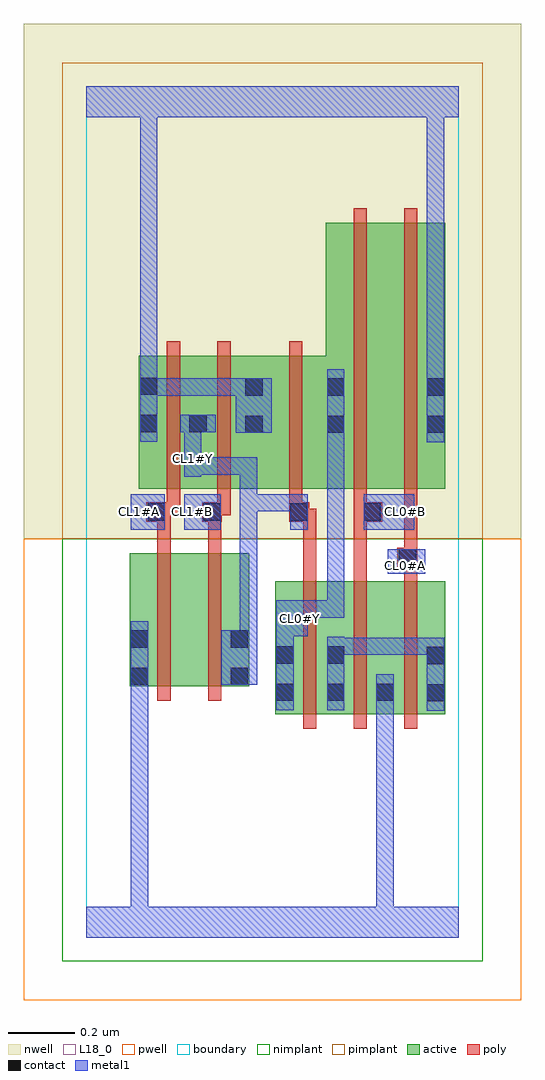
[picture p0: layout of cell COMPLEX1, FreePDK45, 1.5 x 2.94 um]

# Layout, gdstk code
import gdstk
lib = gdstk.Library(unit=1e-6, precision=1e-09)
def R(c, l, rs):  # rectangles x0, y0, x1, y1
    for r in rs: c.add(gdstk.rectangle(r[:2], r[2:], *l))
def A(c, l, x, y, w, h, nx, ny, dx, dy):  # array of equal rectangles
    R(c, l, [(x+i*dx, y+j*dy, x+i*dx+w, y+j*dy+h) for i in range(nx) for j in range(ny)])
active = (1, 0)
pwell = (2, 0)
nwell = (3, 0)
nimplant = (4, 0)
pimplant = (5, 0)
poly = (9, 0)
contact = (10, 0)
metal1 = (11, 0)
L18_0 = (18, 0)
boundary = (235, 0)

complex1 = lib.new_cell('COMPLEX1')
R(complex1, active, [(0.568,0.672,0.628,1.072), (0.568,0.672,0.78,1.072), (0.72,0.672,0.78,1.072), (0.72,0.672,0.928,1.072), (0.868,0.672,1.08,1.072), (0.868,0.672,0.928,0.768), (1.02,0.672,1.08,1.072), (0.13,0.756,0.19,1.156), (0.13,0.756,0.31,1.156), (0.31,0.756,0.49,1.156), (0.43,0.756,0.49,1.156), (0.158,1.35,0.218,1.75), (0.158,1.35,0.366,1.75), (0.306,1.35,0.534,1.75), (0.306,1.35,0.366,1.644), (0.474,1.35,0.534,1.75), (0.474,1.35,0.78,1.75), (0.72,1.35,0.9,2.15), (0.72,1.35,0.78,1.686), (0.9,1.35,1.08,2.15), (1.02,1.35,1.08,2.15)])
R(complex1, pwell, [(-0.188,-0.188,1.308,1.2)])
R(complex1, nwell, [(-0.188,1.2,1.308,2.748)])
R(complex1, nimplant, [(-0.072,-0.072,1.192,1.2)])
R(complex1, pimplant, [(-0.072,1.2,1.192,2.632)])
A(complex1, poly, 0.652, 0.628, 0.04, 0.488, 3, 1, 0.152, 0)
R(complex1, poly, [(0.214,0.712,0.254,1.2), (0.366,0.712,0.406,1.2), (0.652,1.076,0.692,1.29), (0.804,1.076,0.844,1.29), (0.956,1.076,0.996,1.152), (0.936,1.112,0.996,1.172), (0.956,1.132,0.996,1.346), (0.956,1.132,0.996,1.172), (0.956,1.132,0.996,1.172), (0.214,1.16,0.254,1.29), (0.366,1.16,0.406,1.29), (0.18,1.25,0.254,1.31), (0.348,1.25,0.408,1.31), (0.61,1.25,0.67,1.31), (0.63,1.25,0.67,1.29), (0.63,1.25,0.692,1.29), (0.804,1.25,0.844,1.29), (0.804,1.25,0.844,1.29), (0.804,1.25,0.89,1.31), (0.214,1.27,0.254,1.31), (0.214,1.27,0.282,1.31), (0.242,1.27,0.282,1.346), (0.368,1.27,0.408,1.31), (0.368,1.27,0.434,1.31), (0.394,1.27,0.434,1.346), (0.61,1.27,0.65,1.346), (0.804,1.27,0.844,1.346), (0.242,1.306,0.282,1.794), (0.394,1.306,0.434,1.794), (0.61,1.306,0.65,1.794), (0.804,1.306,0.844,2.194), (0.956,1.306,0.996,2.194)])
R(complex1, contact, [(1.024,0.71,1.076,0.762), (0.572,0.712,0.624,0.764), (0.724,0.712,0.776,0.764), (0.872,0.712,0.924,0.764), (0.134,0.76,0.186,0.812), (0.434,0.76,0.486,0.812), (1.024,0.822,1.076,0.874), (0.572,0.824,0.624,0.876), (0.724,0.824,0.776,0.876), (0.134,0.872,0.186,0.924), (0.434,0.872,0.486,0.924), (0.94,1.116,0.992,1.168), (0.184,1.254,0.236,1.306), (0.352,1.254,0.404,1.306), (0.614,1.254,0.666,1.306), (0.834,1.254,0.886,1.306), (0.478,1.518,0.53,1.57), (0.724,1.518,0.776,1.57), (1.024,1.518,1.076,1.57), (0.162,1.52,0.214,1.572), (0.31,1.52,0.362,1.572), (0.478,1.63,0.53,1.682), (0.724,1.63,0.776,1.682), (1.024,1.63,1.076,1.682), (0.162,1.632,0.214,1.684)])
R(complex1, metal1, [(0,0,1.12,0.092), (0.134,0.04,0.186,0.092), (0.134,0.04,0.186,0.092), (0.134,0.04,0.186,0.092), (0.134,0.04,0.186,0.092), (0.134,0.04,0.186,0.092), (0.134,0.04,0.186,0.092), (0.134,0.04,0.186,0.092), (0.134,0.04,0.186,0.092), (0.134,0.04,0.186,0.092), (0.134,0.04,0.186,0.092), (0.134,0.04,0.186,0.784), (0.872,0.04,0.924,0.092), (0.872,0.04,0.924,0.092), (0.872,0.04,0.924,0.092), (0.872,0.04,0.924,0.092), (0.872,0.04,0.924,0.092), (0.872,0.04,0.924,0.092), (0.872,0.04,0.924,0.092), (0.872,0.04,0.924,0.092), (0.872,0.04,0.924,0.736), (1.024,0.682,1.076,0.902), (0.572,0.684,0.624,0.904), (0.724,0.684,0.776,0.904), (0.872,0.684,0.924,0.736), (0.872,0.684,0.924,0.736), (0.872,0.684,0.924,0.736), (0.872,0.684,0.924,0.736), (0.872,0.684,0.924,0.792), (0.134,0.732,0.186,0.784), (0.134,0.732,0.186,0.784), (0.134,0.732,0.186,0.952), (0.406,0.76,0.514,0.924), (0.724,0.85,0.776,0.902), (0.724,0.85,0.776,0.902), (0.724,0.85,0.886,0.902), (0.834,0.85,0.886,0.902), (0.834,0.85,1.076,0.902), (1.024,0.85,1.076,0.902), (1.024,0.85,1.076,0.902), (0.572,0.852,0.624,0.958), (0.462,0.872,0.514,1.334), (0.572,0.906,0.666,1.014), (0.614,0.962,0.666,1.014), (0.614,0.962,0.666,1.014), (0.614,0.962,0.776,1.014), (0.724,0.962,0.776,1.014), (0.724,0.962,0.776,1.542), (0.906,1.094,1.02,1.168), (0.134,1.226,0.236,1.334), (0.294,1.226,0.404,1.334), (0.614,1.226,0.666,1.334), (0.834,1.226,0.986,1.334), (0.462,1.282,0.514,1.334), (0.462,1.282,0.514,1.334), (0.462,1.282,0.666,1.334), (0.462,1.282,0.514,1.444), (0.614,1.282,0.666,1.334), (0.614,1.282,0.666,1.334), (0.294,1.386,0.346,1.494), (0.294,1.392,0.514,1.444), (0.462,1.392,0.514,1.444), (0.462,1.392,0.514,1.444), (0.294,1.442,0.346,1.572), (0.724,1.49,0.776,1.542), (0.724,1.49,0.776,1.542), (0.724,1.49,0.776,1.71), (1.024,1.49,1.076,1.71), (0.162,1.492,0.214,1.712), (0.45,1.518,0.558,1.682), (0.282,1.52,0.39,1.572), (0.162,1.63,0.214,1.682), (0.162,1.63,0.214,1.682), (0.162,1.63,0.348,1.682), (0.296,1.63,0.348,1.682), (0.296,1.63,0.348,1.682), (0.296,1.63,0.348,1.682), (0.296,1.63,0.502,1.682), (1.024,1.658,1.076,1.71), (1.024,1.658,1.076,1.71), (1.024,1.658,1.076,1.71), (1.024,1.658,1.076,1.71), (1.024,1.658,1.076,2.52), (0.162,1.66,0.214,1.712), (0.162,1.66,0.214,1.712), (0.162,1.66,0.214,1.712), (0.162,1.66,0.214,1.712), (0.162,1.66,0.214,1.712), (0.162,1.66,0.214,1.712), (0.162,1.66,0.214,1.712), (0.162,1.66,0.214,1.712), (0.162,1.66,0.214,1.712), (0.162,1.66,0.214,1.712), (0.162,1.66,0.214,1.712), (0.162,1.66,0.214,1.712), (0.162,1.66,0.214,2.52), (0,2.468,1.12,2.56), (0.162,2.468,0.214,2.52), (0.162,2.468,0.214,2.52), (0.162,2.468,0.214,2.52), (0.162,2.468,0.214,2.52), (1.024,2.468,1.076,2.52), (1.024,2.468,1.076,2.52), (1.024,2.468,1.076,2.52), (1.024,2.468,1.076,2.52)])
R(complex1, L18_0, [(0,0,1.12,0.092), (0.134,0.04,0.186,0.092), (0.134,0.04,0.186,0.092), (0.134,0.04,0.186,0.092), (0.134,0.04,0.186,0.092), (0.134,0.04,0.186,0.092), (0.134,0.04,0.186,0.092), (0.134,0.04,0.186,0.092), (0.134,0.04,0.186,0.092), (0.134,0.04,0.186,0.092), (0.134,0.04,0.186,0.092), (0.134,0.04,0.186,0.784), (0.872,0.04,0.924,0.092), (0.872,0.04,0.924,0.092), (0.872,0.04,0.924,0.092), (0.872,0.04,0.924,0.092), (0.872,0.04,0.924,0.092), (0.872,0.04,0.924,0.092), (0.872,0.04,0.924,0.092), (0.872,0.04,0.924,0.092), (0.872,0.04,0.924,0.736), (0.572,0.684,0.624,0.904), (0.872,0.684,0.924,0.736), (0.872,0.684,0.924,0.736), (0.872,0.684,0.924,0.736), (0.872,0.684,0.924,0.736), (0.872,0.684,0.924,0.792), (0.134,0.732,0.186,0.784), (0.134,0.732,0.186,0.784), (0.134,0.732,0.186,0.952), (0.406,0.76,0.514,0.924), (0.572,0.852,0.624,0.958), (0.462,0.872,0.514,1.334), (0.572,0.906,0.666,1.014), (0.614,0.934,0.666,0.986), (0.614,0.962,0.666,1.014), (0.614,0.962,0.666,1.014), (0.614,0.962,0.776,1.014), (0.724,0.962,0.776,1.014), (0.724,0.962,0.776,1.542), (0.906,1.094,1.02,1.168), (0.934,1.094,0.986,1.146), (0.134,1.226,0.236,1.334), (0.294,1.226,0.404,1.334), (0.614,1.226,0.666,1.334), (0.834,1.226,0.986,1.334), (0.134,1.254,0.186,1.306), (0.294,1.254,0.346,1.306), (0.934,1.254,0.986,1.306), (0.462,1.282,0.514,1.334), (0.462,1.282,0.514,1.334), (0.462,1.282,0.514,1.444), (0.462,1.282,0.666,1.334), (0.614,1.282,0.666,1.334), (0.614,1.282,0.666,1.334), (0.294,1.386,0.346,1.494), (0.294,1.392,0.514,1.444), (0.462,1.392,0.514,1.444), (0.462,1.392,0.514,1.444), (0.294,1.414,0.346,1.466), (0.294,1.442,0.346,1.572), (0.724,1.49,0.776,1.542), (0.724,1.49,0.776,1.542), (0.724,1.49,0.776,1.71), (1.024,1.49,1.076,1.71), (0.162,1.492,0.214,1.712), (0.45,1.518,0.558,1.682), (0.282,1.52,0.39,1.572), (0.162,1.63,0.214,1.682), (0.162,1.63,0.214,1.682), (0.162,1.63,0.348,1.682), (0.296,1.63,0.348,1.682), (0.296,1.63,0.348,1.682), (0.296,1.63,0.348,1.682), (0.296,1.63,0.502,1.682), (1.024,1.658,1.076,1.71), (1.024,1.658,1.076,1.71), (1.024,1.658,1.076,1.71), (1.024,1.658,1.076,1.71), (1.024,1.658,1.076,2.52), (0.162,1.66,0.214,1.712), (0.162,1.66,0.214,1.712), (0.162,1.66,0.214,1.712), (0.162,1.66,0.214,1.712), (0.162,1.66,0.214,1.712), (0.162,1.66,0.214,1.712), (0.162,1.66,0.214,1.712), (0.162,1.66,0.214,1.712), (0.162,1.66,0.214,1.712), (0.162,1.66,0.214,1.712), (0.162,1.66,0.214,1.712), (0.162,1.66,0.214,1.712), (0.162,1.66,0.214,2.52), (0,2.468,1.12,2.56), (0.162,2.468,0.214,2.52), (0.162,2.468,0.214,2.52), (0.162,2.468,0.214,2.52), (0.162,2.468,0.214,2.52), (1.024,2.468,1.076,2.52), (1.024,2.468,1.076,2.52), (1.024,2.468,1.076,2.52), (1.024,2.468,1.076,2.52)])
R(complex1, boundary, [(0,0,1.12,2.56)])
complex1.add(gdstk.Label('CL0#A', (0.96,1.12), layer=11, texttype=0))
complex1.add(gdstk.Label('CL0#B', (0.96,1.28), layer=11, texttype=0))
complex1.add(gdstk.Label('CL0#Y', (0.64,0.96), layer=11, texttype=0))
complex1.add(gdstk.Label('CL1#A', (0.16,1.28), layer=11, texttype=0))
complex1.add(gdstk.Label('CL1#B', (0.32,1.28), layer=11, texttype=0))
complex1.add(gdstk.Label('CL1#Y', (0.32,1.44), layer=11, texttype=0))

lib.write_gds('COMPLEX1.gds')
